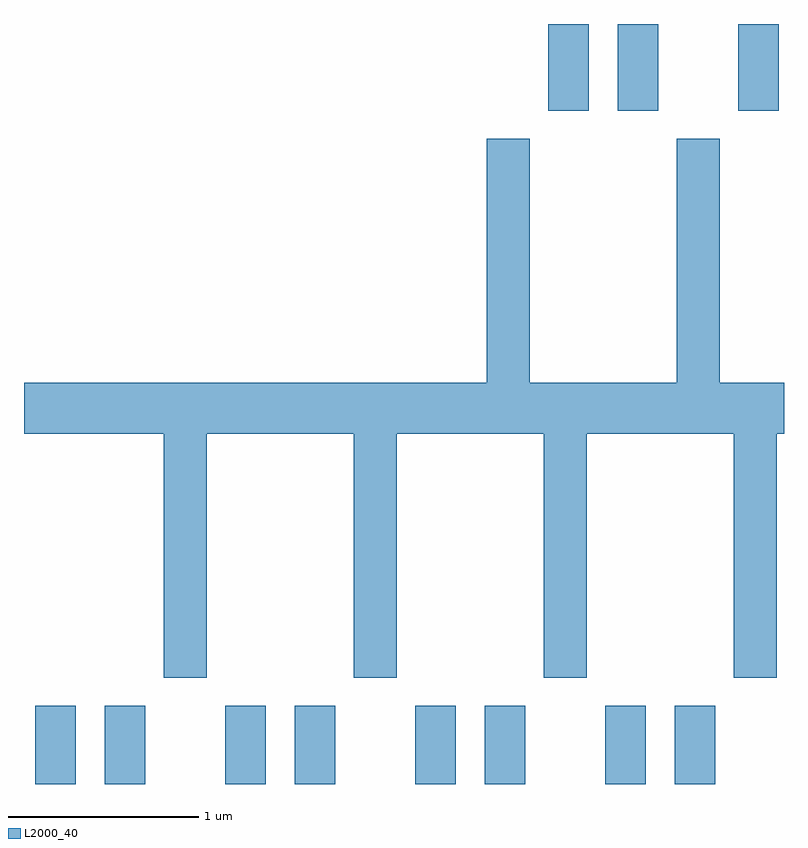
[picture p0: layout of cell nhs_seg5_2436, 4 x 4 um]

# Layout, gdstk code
import gdstk
lib = gdstk.Library(unit=1e-6, precision=1e-09)
def R(c, l, rs):  # rectangles x0, y0, x1, y1
    for r in rs: c.add(gdstk.rectangle(r[:2], r[2:], *l))
def P(c, l, *ps):  # polygons
    for p in ps: c.add(gdstk.Polygon(p, *l))
L2000_40 = (2000, 40)

nhs_seg5_2436 = lib.new_cell('nhs_seg5_2436')
R(nhs_seg5_2436, L2000_40, [(257.671,1446.072,257.884,1446.484), (258.036,1446.072,258.249,1446.484), (258.671,1446.072,258.884,1446.484), (259.036,1446.072,259.249,1446.484), (259.671,1446.072,259.884,1446.484), (260.036,1446.072,260.249,1446.484), (260.671,1446.072,260.884,1446.484), (261.036,1446.072,261.249,1446.484), (260.371,1449.616,260.584,1450.072), (260.736,1449.616,260.949,1450.072), (261.371,1449.616,261.584,1450.072)])
P(nhs_seg5_2436, L2000_40, [(258.574,1447.916),(259.346,1447.916),(259.346,1446.631),(259.574,1446.631),(259.574,1447.916),(260.346,1447.916),(260.346,1446.631),(260.574,1446.631),(260.574,1447.916),(261.346,1447.916),(261.346,1446.631),(261.574,1446.631),(261.574,1447.916),(261.611,1447.916),(261.611,1448.184),(261.274,1448.184),(261.274,1449.469),(261.046,1449.469),(261.046,1448.184),(260.274,1448.184),(260.274,1449.469),(260.046,1449.469),(260.046,1448.184),(257.611,1448.184),(257.611,1447.916),(258.346,1447.916),(258.346,1446.631),(258.574,1446.631)])

lib.write_gds('nhs_seg5_2436.gds')
